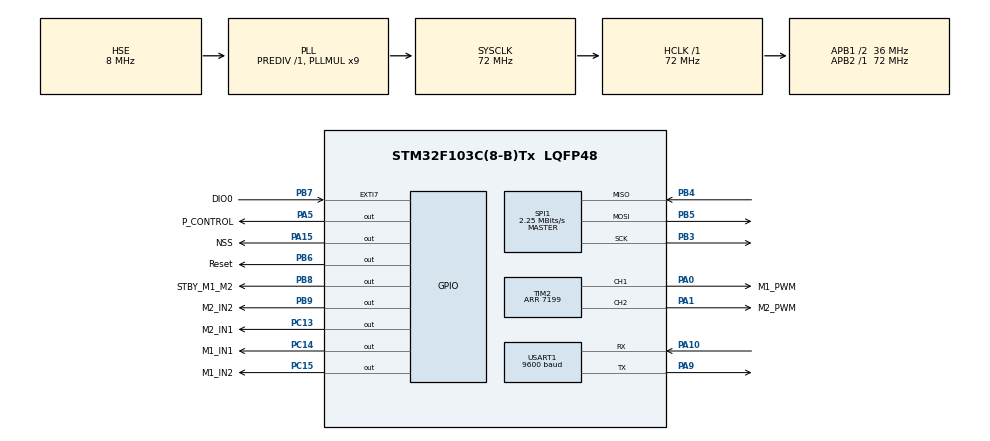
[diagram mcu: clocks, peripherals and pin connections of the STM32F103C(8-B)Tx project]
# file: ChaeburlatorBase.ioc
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FREERTOS.BinarySemaphores01=SemDMA_LoRa,Dynamic,NULL,Available
FREERTOS.INCLUDE_uxTaskGetStackHighWaterMark=1
FREERTOS.INCLUDE_xTaskGetHandle=1
FREERTOS.Queues01=UART_Rx_Que,30,uint8_t,0,Dynamic,NULL,NULL
FREERTOS.Tasks01=LoRaRx,1,300,StartLoRaRx,Default,NULL,Dynamic,NULL,NULL;Console,-2,256,StartConsole,Default,NULL,Dynamic,NULL,NULL;Motor1_2,-2,70,StartMotor1_2,Default,NULL,Dynamic,NULL,NULL;UARTOut,-3,200,StartUARTOut,Default,NULL,Dynamic,NULL,NULL
FREERTOS.configMAX_PRIORITIES=5
FREERTOS.configMINIMAL_STACK_SIZE=64
FREERTOS.configTOTAL_HEAP_SIZE=8000
FREERTOS.configUSE_NEWLIB_REENTRANT=1
FREERTOS.configUSE_TRACE_FACILITY=1
Mcu.Family=STM32F1
Mcu.Name=STM32F103C(8-B)Tx
Mcu.Package=LQFP48
NVIC.EXTI9_5_IRQn=true\:5\:0\:false\:false\:true\:true\:true\:true\:true
NVIC.PriorityGroup=NVIC_PRIORITYGROUP_4
NVIC.USART1_IRQn=true\:5\:0\:false\:false\:true\:true\:true\:true\:true
PA0-WKUP.GPIO_Label=M1_PWM
PA0-WKUP.Signal=S_TIM2_CH1_ETR
PA1.GPIO_Label=M2_PWM
PA1.Signal=S_TIM2_CH2
PA10.Mode=Asynchronous
PA10.Signal=USART1_RX
PA13.Mode=Serial_Wire
PA13.Signal=SYS_JTMS-SWDIO
PA14.Mode=Serial_Wire
PA14.Signal=SYS_JTCK-SWCLK
PA15.GPIO_Label=NSS
PA15.GPIO_PuPd=GPIO_PULLUP
PA15.Signal=GPIO_Output
PA5.GPIO_Label=P_CONTROL
PA5.Signal=GPIO_Output
PA9.Mode=Asynchronous
PA9.Signal=USART1_TX
PB3.Mode=Full_Duplex_Master
PB3.Signal=SPI1_SCK
PB4.Mode=Full_Duplex_Master
PB4.Signal=SPI1_MISO
PB5.Mode=Full_Duplex_Master
PB5.Signal=SPI1_MOSI
PB6.GPIO_Label=Reset
PB6.GPIO_PuPd=GPIO_PULLUP
PB6.Signal=GPIO_Output
PB7.GPIO_Label=DIO0
PB7.GPIO_ModeDefaultEXTI=GPIO_MODE_IT_RISING
PB7.GPIO_PuPd=GPIO_PULLDOWN
PB7.Signal=GPXTI7
PB8.GPIO_Label=STBY_M1_M2
PB8.Signal=GPIO_Output
PB9.GPIO_Label=M2_IN2
PB9.Signal=GPIO_Output
PC13-TAMPER-RTC.GPIO_Label=M2_IN1
PC13-TAMPER-RTC.Signal=GPIO_Output
PC14-OSC32_IN.GPIO_Label=M1_IN1
PC14-OSC32_IN.Signal=GPIO_Output
PC15-OSC32_OUT.GPIO_Label=M1_IN2
PC15-OSC32_OUT.Signal=GPIO_Output
PD0-OSC_IN.Mode=HSE-External-Oscillator
PD0-OSC_IN.Signal=RCC_OSC_IN
PD1-OSC_OUT.Mode=HSE-External-Oscillator
PD1-OSC_OUT.Signal=RCC_OSC_OUT
ProjectManager.HeapSize=0x200
ProjectManager.StackSize=0x400
ProjectManager.TargetToolchain=STM32CubeIDE
RCC.AHBFreq_Value=72000000
RCC.APB1CLKDivider=RCC_HCLK_DIV2
RCC.APB1Freq_Value=36000000
RCC.APB1TimFreq_Value=72000000
RCC.APB2Freq_Value=72000000
RCC.APB2TimFreq_Value=72000000
RCC.HCLKFreq_Value=72000000
RCC.PLLMUL=RCC_PLL_MUL9
RCC.PLLSourceVirtual=RCC_PLLSOURCE_HSE
RCC.SYSCLKFreq_VALUE=72000000
RCC.SYSCLKSource=RCC_SYSCLKSOURCE_PLLCLK
RCC.USBFreq_Value=72000000
SH.S_TIM2_CH1_ETR.0=TIM2_CH1,PWM Generation1 CH1
SH.S_TIM2_CH2.0=TIM2_CH2,PWM Generation2 CH2
SPI1.BaudRatePrescaler=SPI_BAUDRATEPRESCALER_32
SPI1.CalculateBaudRate=2.25 MBits/s
SPI1.Direction=SPI_DIRECTION_2LINES
SPI1.Mode=SPI_MODE_MASTER
SPI1.VirtualType=VM_MASTER
TIM2.Channel-PWM\ Generation1\ CH1=TIM_CHANNEL_1
TIM2.Channel-PWM\ Generation2\ CH2=TIM_CHANNEL_2
TIM2.Period=7199
USART1.BaudRate=9600
USART1.Parity=PARITY_ODD
USART1.VirtualMode=VM_ASYNC
USART1.WordLength=WORDLENGTH_9B
VP_FREERTOS_VS_CMSIS_V1.Mode=CMSIS_V1
board=custom

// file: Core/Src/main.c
/* USER CODE BEGIN Header */
/**
  ******************************************************************************
  * @file           : main.c
  * @brief          : Main program body
  ******************************************************************************
  * @attention
  *
  * Copyright (c) 2025 STMicroelectronics.
  * All rights reserved.
  *
  * This software is licensed under terms that can be found in the LICENSE file
  * in the root directory of this software component.
  * If no LICENSE file comes with this software, it is provided AS-IS.
  *
  ******************************************************************************
  */
/* USER CODE END Header */
#include "main.h"
#include "cmsis_os.h"

/* USER CODE BEGIN Includes */
#include "UART_Outpt.h"
/* USER CODE END Includes */

SPI_HandleTypeDef hspi1;

TIM_HandleTypeDef htim2;

UART_HandleTypeDef huart1;

osThreadId LoRaRxHandle;
osThreadId ConsoleHandle;
osThreadId Motor1_2Handle;
osThreadId UARTOutHandle;
osMessageQId UART_Rx_QueHandle;
osSemaphoreId SemDMA_LoRaHandle;
/* USER CODE BEGIN PV */

//int8_t Acceleration;

/* USER CODE END PV */

void SystemClock_Config(void);
static void MX_GPIO_Init(void);
static void MX_TIM2_Init(void);
static void MX_USART1_UART_Init(void);
static void MX_SPI1_Init(void);
void StartLoRaRx(void const * argument);
void StartConsole(void const * argument);
void StartMotor1_2(void const * argument);
void StartUARTOut(void const * argument);

int main(void)
{

  /* MCU Configuration--------------------------------------------------------*/

  /* Reset of all peripherals, Initializes the Flash interface and the Systick. */
  HAL_Init();

  /* Configure the system clock */
  SystemClock_Config();

  /* Initialize all configured peripherals */
  MX_GPIO_Init();
  MX_TIM2_Init();
  MX_USART1_UART_Init();
  MX_SPI1_Init();

  /* Create the semaphores(s) */
  /* definition and creation of SemDMA_LoRa */
  osSemaphoreDef(SemDMA_LoRa);
  SemDMA_LoRaHandle = osSemaphoreCreate(osSemaphore(SemDMA_LoRa), 1);

  /* USER CODE BEGIN RTOS_SEMAPHORES */
  /* add semaphores, ... */
  osSemaphoreWait(SemDMA_LoRaHandle, 0);
  /* USER CODE END RTOS_SEMAPHORES */

  /* Create the queue(s) */
  /* definition and creation of UART_Rx_Que */
  osMessageQDef(UART_Rx_Que, 30, uint8_t);
  UART_Rx_QueHandle = osMessageCreate(osMessageQ(UART_Rx_Que), NULL);

  /* Create the thread(s) */
  /* definition and creation of LoRaRx */
  osThreadDef(LoRaRx, StartLoRaRx, osPriorityAboveNormal, 0, 300);
  LoRaRxHandle = osThreadCreate(osThread(LoRaRx), NULL);

  /* definition and creation of Console */
  osThreadDef(Console, StartConsole, osPriorityLow, 0, 256);
  ConsoleHandle = osThreadCreate(osThread(Console), NULL);

  /* definition and creation of Motor1_2 */
  osThreadDef(Motor1_2, StartMotor1_2, osPriorityLow, 0, 70);
  Motor1_2Handle = osThreadCreate(osThread(Motor1_2), NULL);

  /* definition and creation of UARTOut */
  osThreadDef(UARTOut, StartUARTOut, osPriorityIdle, 0, 200);
  UARTOutHandle = osThreadCreate(osThread(UARTOut), NULL);

  /* Start scheduler */
  osKernelStart();

  /* We should never get here as control is now taken by the scheduler */

  /* Infinite loop */
  while (1)
  {

  }
}

void SystemClock_Config(void)
{
  RCC_OscInitTypeDef RCC_OscInitStruct = {0};
  RCC_ClkInitTypeDef RCC_ClkInitStruct = {0};

  /** Initializes the RCC Oscillators according to the specified parameters
  * in the RCC_OscInitTypeDef structure.
  */
  RCC_OscInitStruct.OscillatorType = RCC_OSCILLATORTYPE_HSE;
  RCC_OscInitStruct.HSEState = RCC_HSE_ON;
  RCC_OscInitStruct.HSEPredivValue = RCC_HSE_PREDIV_DIV1;
  RCC_OscInitStruct.HSIState = RCC_HSI_ON;
  RCC_OscInitStruct.PLL.PLLState = RCC_PLL_ON;
  RCC_OscInitStruct.PLL.PLLSource = RCC_PLLSOURCE_HSE;
  RCC_OscInitStruct.PLL.PLLMUL = RCC_PLL_MUL9;
  if (HAL_RCC_OscConfig(&RCC_OscInitStruct) != HAL_OK)
  {
    Error_Handler();
  }

  /** Initializes the CPU, AHB and APB buses clocks
  */
  RCC_ClkInitStruct.ClockType = RCC_CLOCKTYPE_HCLK|RCC_CLOCKTYPE_SYSCLK
                              |RCC_CLOCKTYPE_PCLK1|RCC_CLOCKTYPE_PCLK2;
  RCC_ClkInitStruct.SYSCLKSource = RCC_SYSCLKSOURCE_PLLCLK;
  RCC_ClkInitStruct.AHBCLKDivider = RCC_SYSCLK_DIV1;
  RCC_ClkInitStruct.APB1CLKDivider = RCC_HCLK_DIV2;
  RCC_ClkInitStruct.APB2CLKDivider = RCC_HCLK_DIV1;

  if (HAL_RCC_ClockConfig(&RCC_ClkInitStruct, FLASH_LATENCY_2) != HAL_OK)
  {
    Error_Handler();
  }
}

static void MX_SPI1_Init(void)
{

  /* SPI1 parameter configuration*/
  hspi1.Instance = SPI1;
  hspi1.Init.Mode = SPI_MODE_MASTER;
  hspi1.Init.Direction = SPI_DIRECTION_2LINES;
  hspi1.Init.DataSize = SPI_DATASIZE_8BIT;
  hspi1.Init.CLKPolarity = SPI_POLARITY_LOW;
  hspi1.Init.CLKPhase = SPI_PHASE_1EDGE;
  hspi1.Init.NSS = SPI_NSS_SOFT;
  hspi1.Init.BaudRatePrescaler = SPI_BAUDRATEPRESCALER_32;
  hspi1.Init.FirstBit = SPI_FIRSTBIT_MSB;
  hspi1.Init.TIMode = SPI_TIMODE_DISABLE;
  hspi1.Init.CRCCalculation = SPI_CRCCALCULATION_DISABLE;
  hspi1.Init.CRCPolynomial = 10;
  if (HAL_SPI_Init(&hspi1) != HAL_OK)
  {
    Error_Handler();
  }

}

static void MX_TIM2_Init(void)
{

  TIM_MasterConfigTypeDef sMasterConfig = {0};
  TIM_OC_InitTypeDef sConfigOC = {0};

  htim2.Instance = TIM2;
  htim2.Init.Prescaler = 0;
  htim2.Init.CounterMode = TIM_COUNTERMODE_UP;
  htim2.Init.Period = 7199;
  htim2.Init.ClockDivision = TIM_CLOCKDIVISION_DIV1;
  htim2.Init.AutoReloadPreload = TIM_AUTORELOAD_PRELOAD_DISABLE;
  if (HAL_TIM_PWM_Init(&htim2) != HAL_OK)
  {
    Error_Handler();
  }
  sMasterConfig.MasterOutputTrigger = TIM_TRGO_RESET;
  sMasterConfig.MasterSlaveMode = TIM_MASTERSLAVEMODE_DISABLE;
  if (HAL_TIMEx_MasterConfigSynchronization(&htim2, &sMasterConfig) != HAL_OK)
  {
    Error_Handler();
  }
  sConfigOC.OCMode = TIM_OCMODE_PWM1;
  sConfigOC.Pulse = 0;
  sConfigOC.OCPolarity = TIM_OCPOLARITY_HIGH;
  sConfigOC.OCFastMode = TIM_OCFAST_DISABLE;
  if (HAL_TIM_PWM_ConfigChannel(&htim2, &sConfigOC, TIM_CHANNEL_1) != HAL_OK)
  {
    Error_Handler();
  }
  if (HAL_TIM_PWM_ConfigChannel(&htim2, &sConfigOC, TIM_CHANNEL_2) != HAL_OK)
  {
    Error_Handler();
  }
  HAL_TIM_MspPostInit(&htim2);

}

static void MX_USART1_UART_Init(void)
{

  huart1.Instance = USART1;
  huart1.Init.BaudRate = 9600;
  huart1.Init.WordLength = UART_WORDLENGTH_9B;
  huart1.Init.StopBits = UART_STOPBITS_1;
  huart1.Init.Parity = UART_PARITY_ODD;
  huart1.Init.Mode = UART_MODE_TX_RX;
  huart1.Init.HwFlowCtl = UART_HWCONTROL_NONE;
  huart1.Init.OverSampling = UART_OVERSAMPLING_16;
  if (HAL_UART_Init(&huart1) != HAL_OK)
  {
    Error_Handler();
  }

}

static void MX_GPIO_Init(void)
{
  GPIO_InitTypeDef GPIO_InitStruct = {0};

  /* GPIO Ports Clock Enable */
  __HAL_RCC_GPIOC_CLK_ENABLE();
  __HAL_RCC_GPIOD_CLK_ENABLE();
  __HAL_RCC_GPIOA_CLK_ENABLE();
  __HAL_RCC_GPIOB_CLK_ENABLE();

  /*Configure GPIO pin Output Level */
  HAL_GPIO_WritePin(GPIOC, M2_IN1_Pin|M1_IN1_Pin|M1_IN2_Pin, GPIO_PIN_RESET);

  /*Configure GPIO pin Output Level */
  HAL_GPIO_WritePin(GPIOA, P_CONTROL_Pin|NSS_Pin, GPIO_PIN_RESET);

  /*Configure GPIO pin Output Level */
  HAL_GPIO_WritePin(GPIOB, Reset_Pin|STBY_M1_M2_Pin|M2_IN2_Pin, GPIO_PIN_RESET);

  /*Configure GPIO pins : M2_IN1_Pin M1_IN1_Pin M1_IN2_Pin */
  GPIO_InitStruct.Pin = M2_IN1_Pin|M1_IN1_Pin|M1_IN2_Pin;
  GPIO_InitStruct.Mode = GPIO_MODE_OUTPUT_PP;
  GPIO_InitStruct.Pull = GPIO_NOPULL;
  GPIO_InitStruct.Speed = GPIO_SPEED_FREQ_LOW;
  HAL_GPIO_Init(GPIOC, &GPIO_InitStruct);

  /*Configure GPIO pin : P_CONTROL_Pin */
  GPIO_InitStruct.Pin = P_CONTROL_Pin;
  GPIO_InitStruct.Mode = GPIO_MODE_OUTPUT_PP;
  GPIO_InitStruct.Pull = GPIO_NOPULL;
  GPIO_InitStruct.Speed = GPIO_SPEED_FREQ_LOW;
  HAL_GPIO_Init(P_CONTROL_GPIO_Port, &GPIO_InitStruct);

  /*Configure GPIO pin : NSS_Pin */
  GPIO_InitStruct.Pin = NSS_Pin;
  GPIO_InitStruct.Mode = GPIO_MODE_OUTPUT_PP;
  GPIO_InitStruct.Pull = GPIO_PULLUP;
  GPIO_InitStruct.Speed = GPIO_SPEED_FREQ_LOW;
  HAL_GPIO_Init(NSS_GPIO_Port, &GPIO_InitStruct);

  /*Configure GPIO pin : Reset_Pin */
  GPIO_InitStruct.Pin = Reset_Pin;
  GPIO_InitStruct.Mode = GPIO_MODE_OUTPUT_PP;
  GPIO_InitStruct.Pull = GPIO_PULLUP;
  GPIO_InitStruct.Speed = GPIO_SPEED_FREQ_LOW;
  HAL_GPIO_Init(Reset_GPIO_Port, &GPIO_InitStruct);

  /*Configure GPIO pin : DIO0_Pin */
  GPIO_InitStruct.Pin = DIO0_Pin;
  GPIO_InitStruct.Mode = GPIO_MODE_IT_RISING;
  GPIO_InitStruct.Pull = GPIO_PULLDOWN;
  HAL_GPIO_Init(DIO0_GPIO_Port, &GPIO_InitStruct);

  /*Configure GPIO pins : STBY_M1_M2_Pin M2_IN2_Pin */
  GPIO_InitStruct.Pin = STBY_M1_M2_Pin|M2_IN2_Pin;
  GPIO_InitStruct.Mode = GPIO_MODE_OUTPUT_PP;
  GPIO_InitStruct.Pull = GPIO_NOPULL;
  GPIO_InitStruct.Speed = GPIO_SPEED_FREQ_LOW;
  HAL_GPIO_Init(GPIOB, &GPIO_InitStruct);

  /* EXTI interrupt init*/
  HAL_NVIC_SetPriority(EXTI9_5_IRQn, 5, 0);
  HAL_NVIC_EnableIRQ(EXTI9_5_IRQn);

}

/* USER CODE BEGIN Header_StartLoRaRx */
/**
  * @brief  Function implementing the LoRaRx thread.
  * @param  argument: Not used
  * @retval None
 * PB7 	DIO0
 * PB6	Reset
 * PB5	SPI1_MOSI
 * PB4	SPII_MISO
 * PB3	SPI1_SCK
 * PA15	NSS
  */
/* USER CODE END Header_StartLoRaRx */
void StartLoRaRx(void const * argument)
{
  /* USER CODE BEGIN 5 */
	ZeroCommArr();

	SX1276Init();
	InitRxContLoRa();
	StartRxContLoRa();
  /* Infinite loop */
  for(;;)
  {// Waits for semaphore from IT.
	 xSemaphoreTake(SemDMA_LoRaHandle,portMAX_DELAY);
		// generates an array of commands based on the received data
	 CalcRxCommands();
	 StartRxContLoRa();

  }
  /* USER CODE END 5 */
}

void StartConsole(void const * argument)
{
  /* USER CODE BEGIN StartConsole */
	MyConsole_Setup();
	uint8_t Buffer[64];
	uint32_t len;
  /* Infinite loop */
  for(;;)
  {
	len = USART1_Receive(0x0D,Buffer,sizeof(Buffer),portMAX_DELAY);
	console_process(Buffer, len);
  }
  /* USER CODE END StartConsole */
}

void StartMotor1_2(void const * argument)
{
  /* USER CODE BEGIN StartMotor1_2 */
	DC_Motor Motor1 = {0};
	Motor1.PinIn1 = M1_IN1_Pin;
	Motor1.PinIn2 = M1_IN2_Pin;
	Motor1.PortIn1 = M1_IN1_GPIO_Port;
	Motor1.PortIn2 = M1_IN2_GPIO_Port;
	Motor1.StbyPin = STBY_M1_M2_Pin;
	Motor1.StbyPort = STBY_M1_M2_GPIO_Port;
	Motor1.pwm_register_ptr = &(htim2.Instance->CCR1);
	HAL_TIM_PWM_Start(&htim2, TIM_CHANNEL_1);
//	TestMotor(&Motor1, acceleration);

	DC_Motor Motor2 = {0};
	Motor2.PinIn1 = M2_IN1_Pin;
	Motor2.PinIn2 = M2_IN2_Pin;
	Motor2.PortIn1 = M2_IN1_GPIO_Port;
	Motor2.PortIn2 = M2_IN2_GPIO_Port;
	Motor2.StbyPin = STBY_M1_M2_Pin;
	Motor2.StbyPort = STBY_M1_M2_GPIO_Port;
	Motor2.pwm_register_ptr = &(htim2.Instance->CCR2);
	HAL_TIM_PWM_Start(&htim2, TIM_CHANNEL_2);
  /* Infinite loop */
  for(;;)
  {
	  Engine_Control(Acceleration,&Motor1, &Motor2);
	  osDelay(10);
  }
  /* USER CODE END StartMotor1_2 */
}

void StartUARTOut(void const * argument)
{
  /* USER CODE BEGIN StartUARTOut */
	ModeOutput = 0;
  /* Infinite loop */
  for(;;)
  {
	  switch (ModeOutput) {

	  case(0) : {
		  osDelay(2000);
		  break;
	  }
	  case(1) : {
		  OutDataRxLoRa(&huart1);
		  osDelay(1000);
		  break;
	  }
	  case(2) : {
		  OutDataRxLoRa(&huart1);
		  osDelay(2000);
		  break;
	  }
	  case(3) : {
		  OutDataRxLoRa(&huart1);
		  osDelay(3000);
		  break;
	  }
	  default : {
		  osDelay(2000);
		  break;
	  }
	  }
  /* USER CODE END StartUARTOut */
  }
}

void Error_Handler(void)
{
  __disable_irq();
  while (1)
  {
  }
}
